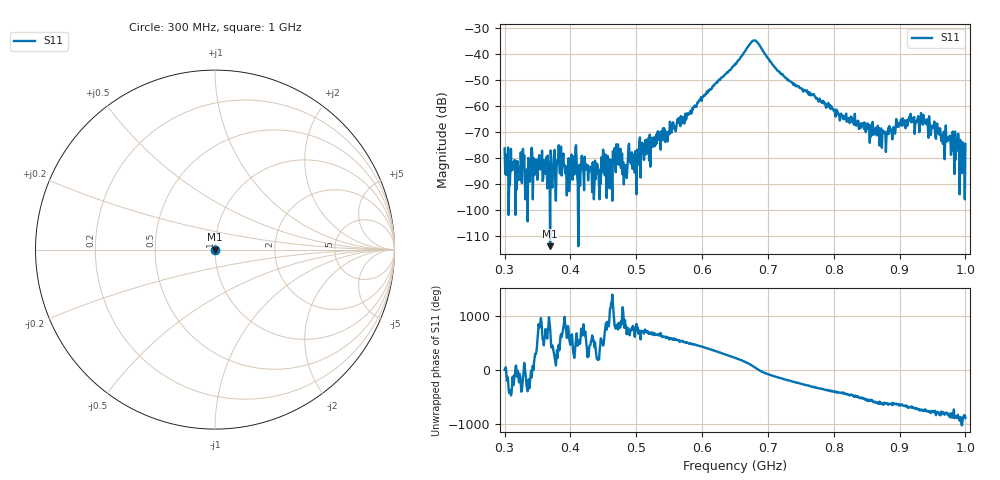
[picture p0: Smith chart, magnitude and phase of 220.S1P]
! C:\Users\rflab\Downloads\q2\220.S1P
! Touchstone 1.1 file saved by VNA.EXE V1.65 (www.ke5fx.com/gpib/readme.htm)
! 11/20/2024 11:13:43 AM
!  Source: HEWLETT PACKARD,8753D,0,6.14
!  Min freq: 3.000000E+008 Hz
!  Max freq: 1.000000E+009 Hz
!  Points: 801
!  Params: S21
# GHZ S MA R 50
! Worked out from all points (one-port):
!   801 points, 300 MHz to 1 GHz, reference 50 ohm
!   lowest |S11| = -114.0 dB at 369.1 MHz (marker M1), VSWR 1.00, Z = 50 + j0.000157 ohm
!   |S11| at or under -10 dB: start of sweep to end of sweep
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0.3  0.000153 3.7
0.314  7.5e-05 89.2
0.369125  2e-06 51.7
0.3875  8.3e-05 -64.2
0.460125  2.6e-05 52.6
0.475  8.5e-05 61.8
0.482875  5.9e-05 -159.1
0.4995  0.000111 50.2
0.507375  0.000126 -15.9
0.51875  0.000213 -56.0
0.5625  0.000558 -174.7
0.65  0.006233 -139.7
0.680625  0.01845 38.0
0.712125  0.005236 -128.9
0.7375  0.002811 142.8
0.825  0.000512 -100.4
0.876625  0.000318 113.6
0.8845  0.000414 88.7
0.890625  0.000395 79.3
0.8985  0.000399 87.8
0.9125  0.000449 41.3
0.93525  0.000439 -34.3
0.95975  0.000361 -73.5
0.965875  0.000186 -58.6
0.97375  0.000218 -121.8
0.981625  0.00016 -121.7
0.993875  8.5e-05 76.8
1  0.000187 -171.3
